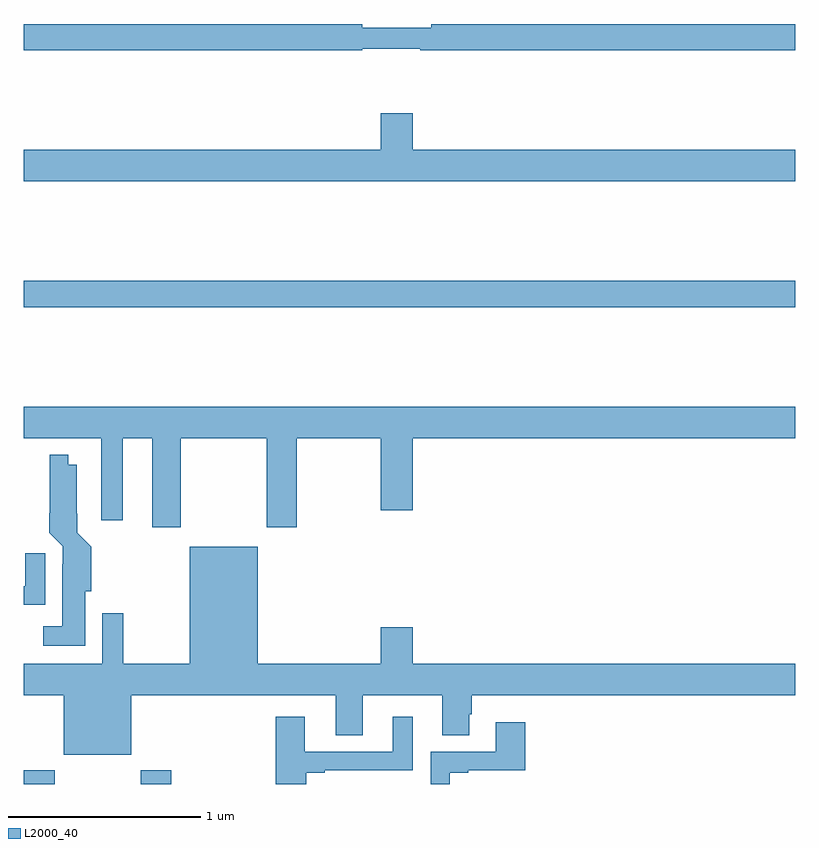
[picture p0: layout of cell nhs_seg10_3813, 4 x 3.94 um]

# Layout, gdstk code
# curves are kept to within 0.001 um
import gdstk
lib = gdstk.Library(unit=1e-6, precision=1e-09)
def R(c, l, rs):  # rectangles x0, y0, x1, y1
    for r in rs: c.add(gdstk.rectangle(r[:2], r[2:], *l))
def P(c, l, *ps):  # polygons
    for p in ps: c.add(gdstk.Polygon(p, *l))
L2000_40 = (2000, 40)

nhs_seg10_3813 = lib.new_cell('nhs_seg10_3813')
R(nhs_seg10_3813, L2000_40, [(319.001,1322.5,319.161,1322.572), (319.606,1322.5,319.766,1322.572), (319,1324.972,323,1325.108)])
P(nhs_seg10_3813, L2000_40, [(320.755,1326.312),(321.055,1326.312),(321.055,1326.304),(323,1326.304),(323,1326.44),(321.112,1326.44),(321.112,1326.421),(320.756,1326.421),(320.756,1326.44),(319,1326.44),(319,1326.304),(320.755,1326.304)],
  [(323,1325.788),(321.016,1325.788),(321.016,1325.977),(320.852,1325.977),(320.852,1325.788),(319,1325.788),(319,1325.624),(323,1325.624)],
  [(319.815,1324.292),(320.26,1324.292),(320.26,1323.831),(320.415,1323.831),(320.415,1324.292),(320.852,1324.292),(320.852,1323.918),(321.016,1323.918),(321.016,1324.292),(323,1324.292),(323,1324.456),(319,1324.456),(319,1324.292),(319.403,1324.292),(319.403,1323.867),(319.513,1323.867),(319.513,1324.292),(319.667,1324.292),(319.667,1323.831),(319.815,1323.831)],
  [(319.318,1323.498),(319.349,1323.498),(319.349,1323.73),(319.277,1323.802),(319.276,1324.156),(319.231,1324.156),(319.231,1324.207),(319.134,1324.207),(319.133,1323.802),(319.203,1323.732),(319.203,1323.638),(319.199,1323.638),(319.199,1323.319),(319.101,1323.319),(319.101,1323.218),(319.318,1323.218)],
  [(319.558,1322.96),(320.618,1322.96),(320.618,1322.752),(320.758,1322.752),(320.758,1322.96),(321.17,1322.96),(321.17,1322.752),(321.31,1322.752),(321.31,1322.862),(321.323,1322.862),(321.323,1322.96),(323,1322.96),(323,1323.124),(321.016,1323.124),(321.016,1323.313),(320.852,1323.313),(320.852,1323.124),(320.212,1323.124),(320.212,1323.73),(319.862,1323.73),(319.862,1323.124),(319.516,1323.124),(319.516,1323.385),(319.407,1323.385),(319.407,1323.124),(319,1323.124),(319,1322.96),(319.208,1322.96),(319.208,1322.651),(319.558,1322.651)],
  [(319.111,1323.697),(319.007,1323.697),(319.007,1323.525),(319,1323.525),(319,1323.429),(319.111,1323.429)],
  [(320.464,1322.559),(320.56,1322.559),(320.56,1322.571),(321.016,1322.571),(321.016,1322.848),(320.912,1322.848),(320.912,1322.667),(320.458,1322.667),(320.458,1322.848),(320.306,1322.848),(320.306,1322.5),(320.464,1322.5)],
  [(321.209,1322.559),(321.304,1322.559),(321.304,1322.571),(321.599,1322.571),(321.599,1322.821),(321.446,1322.821),(321.446,1322.667),(321.111,1322.667),(321.111,1322.5),(321.209,1322.5)])

lib.write_gds('nhs_seg10_3813.gds')
